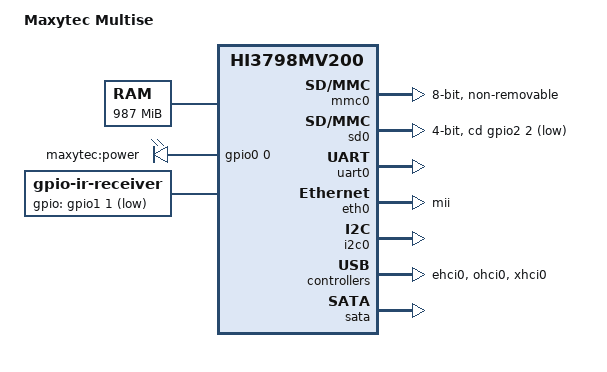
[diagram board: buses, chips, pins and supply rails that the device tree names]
/dts-v1/;

#include <dt-bindings/gpio/gpio.h>
#include "hi3798mv200.dtsi"

/ {
    model = "Maxytec Multise";
    compatible = "maxytec,multise", "hisilicon,hi3798mv200";

    memory@0 {
        device_type = "memory";
        reg = <0x0 0x3db00000>;
    };

    chosen {
        bootargs = "";
        stdout-path = "";
    };

    aliases {
        serial0 = &uart0;
        led0 = &led_power;
    };

    leds {
        compatible = "gpio-leds";
        led_power: led-power {
            label = "maxytec:power";
            gpios = <&gpio0 0 GPIO_ACTIVE_HIGH>;
            default-state = "on";
        };
    };

    ir {
        compatible = "gpio-ir-receiver";
        gpios = <&gpio1 1 GPIO_ACTIVE_LOW>;
        linux,rc-map-name = "rc-hisi";
    };
};

&mmc0 {
    bus-width = <8>;
    non-removable;
};

&sd0 {
    bus-width = <4>;
    cd-gpios = <&gpio2 2 GPIO_ACTIVE_LOW>;
};

&uart0 {
    status = "okay";
};

&eth0 {
    phy-mode = "mii";
    mac-address = [00 14 49 a4 96 31];
    status = "okay";
};

&i2c0 {
    status = "okay";
};

&ehci0 {
    status = "okay";
};

&ohci0 {
    status = "okay";
};

&xhci0 {
    status = "okay";
};

&sata {
    status = "okay";
};
